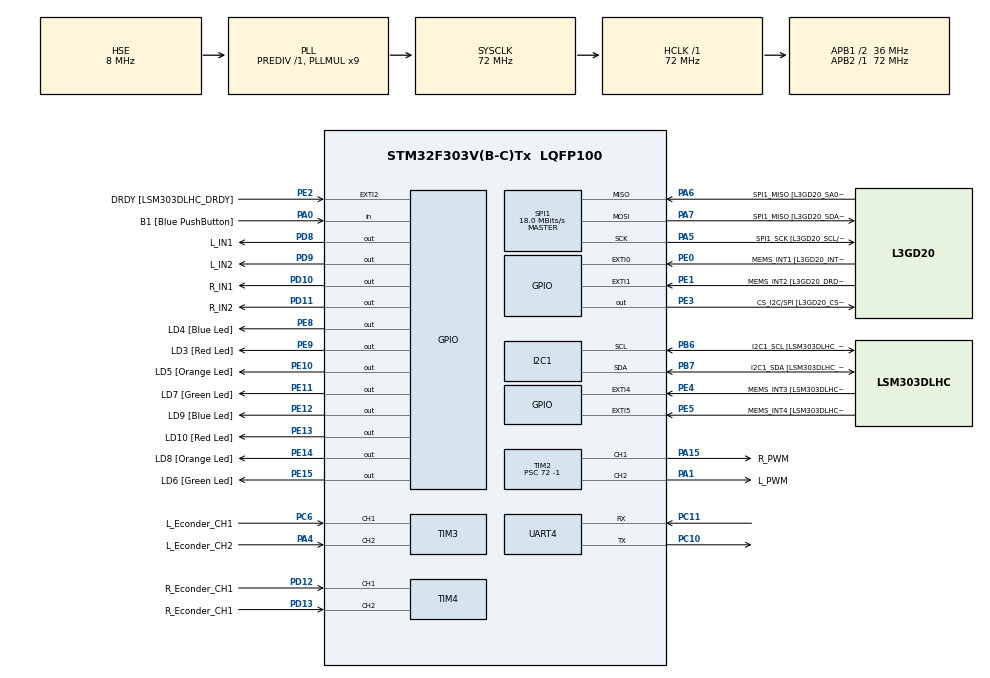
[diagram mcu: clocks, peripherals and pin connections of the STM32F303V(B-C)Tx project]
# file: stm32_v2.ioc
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FREERTOS.Tasks01=monitortingTask,8,1024,vmonitoring,Default,NULL,Dynamic,NULL,NULL;navigationTask,8,512,vnavigation,Default,NULL,Dynamic,NULL,NULL
FREERTOS.configTOTAL_HEAP_SIZE=10000
FREERTOS.configUSE_NEWLIB_REENTRANT=1
I2C1.Timing=0x00201D2B
I2C1.Timing-I2C=0x2000090E
Mcu.Family=STM32F3
Mcu.Name=STM32F303V(B-C)Tx
Mcu.Package=LQFP100
NVIC.PriorityGroup=NVIC_PRIORITYGROUP_4
NVIC.TIM1_UP_TIM16_IRQn=true\:15\:0\:false\:false\:true\:false\:false\:true\:true
NVIC.TimeBase=TIM1_UP_TIM16_IRQn
NVIC.TimeBaseIP=TIM1
NVIC.UART4_IRQn=true\:5\:0\:false\:true\:true\:1\:true\:true\:true\:true
PA0.GPIO_Label=B1 [Blue PushButton]
PA0.Signal=GPIO_Input
PA1.GPIO_Label=L_PWM
PA1.Signal=S_TIM2_CH2
PA11.GPIO_Label=DM
PA11.Signal=USB_DM
PA12.GPIO_Label=DP
PA12.Signal=USB_DP
PA13.GPIO_Label=SWDIO
PA13.Mode=Serial_Wire
PA13.Signal=SYS_JTMS-SWDIO
PA14.GPIO_Label=SWCLK
PA14.Mode=Serial_Wire
PA14.Signal=SYS_JTCK-SWCLK
PA15.GPIO_Label=R_PWM
PA15.Signal=S_TIM2_CH1_ETR
PA4.GPIO_Label=L_Econder_CH2
PA4.Signal=S_TIM3_CH2
PA5.GPIO_Label=SPI1_SCK [L3GD20_SCL/SPC]
PA5.Mode=Full_Duplex_Master
PA5.Signal=SPI1_SCK
PA6.GPIO_Label=SPI1_MISO [L3GD20_SA0/SDO]
PA6.Mode=Full_Duplex_Master
PA6.Signal=SPI1_MISO
PA7.GPIO_Label=SPI1_MISO [L3GD20_SDA/SDI/SDO]
PA7.Mode=Full_Duplex_Master
PA7.Signal=SPI1_MOSI
PB3.GPIO_Label=SWO
PB3.Signal=SYS_JTDO-TRACESWO
PB6.GPIO_Label=I2C1_SCL [LSM303DLHC_SCL]
PB6.GPIO_Pu=GPIO_PULLUP
PB6.Mode=I2C
PB6.Signal=I2C1_SCL
PB7.GPIO_Label=I2C1_SDA [LSM303DLHC_SDA]
PB7.GPIO_Pu=GPIO_PULLUP
PB7.Mode=I2C
PB7.Signal=I2C1_SDA
PC10.Mode=Asynchronous
PC10.Signal=UART4_TX
PC11.Mode=Asynchronous
PC11.Signal=UART4_RX
PC14-OSC32_IN.GPIO_Label=OSC32_IN
PC14-OSC32_IN.Signal=RCC_OSC32_IN
PC15-OSC32_OUT.GPIO_Label=OSC32_OUT
PC15-OSC32_OUT.Signal=RCC_OSC32_OUT
PC6.GPIO_Label=L_Econder_CH1
PC6.Signal=S_TIM3_CH1
PD10.GPIO_Label=R_IN1
PD10.Signal=GPIO_Output
PD11.GPIO_Label=R_IN2
PD11.Signal=GPIO_Output
PD12.GPIO_Label=R_Econder_CH1
PD12.Signal=S_TIM4_CH1
PD13.GPIO_Label=R_Econder_CH1
PD13.Signal=S_TIM4_CH2
PD8.GPIO_Label=L_IN1
PD8.Signal=GPIO_Output
PD9.GPIO_Label=L_IN2
PD9.Signal=GPIO_Output
PE0.GPIO_Label=MEMS_INT1 [L3GD20_INT1]
PE0.GPIO_ModeDefaultEXTI=GPIO_MODE_EVT_RISING
PE0.Signal=GPXTI0
PE1.GPIO_Label=MEMS_INT2 [L3GD20_DRDY/INT2]
PE1.GPIO_ModeDefaultEXTI=GPIO_MODE_EVT_RISING
PE1.Signal=GPXTI1
PE10.GPIO_Label=LD5 [Orange Led]
PE10.Signal=GPIO_Output
PE11.GPIO_Label=LD7 [Green Led]
PE11.Signal=GPIO_Output
PE12.GPIO_Label=LD9 [Blue Led]
PE12.Signal=GPIO_Output
PE13.GPIO_Label=LD10 [Red Led]
PE13.Signal=GPIO_Output
PE14.GPIO_Label=LD8 [Orange Led]
PE14.Signal=GPIO_Output
PE15.GPIO_Label=LD6 [Green Led]
PE15.Signal=GPIO_Output
PE2.GPIO_Label=DRDY [LSM303DLHC_DRDY]
PE2.GPIO_ModeDefaultEXTI=GPIO_MODE_EVT_RISING
PE2.Signal=GPXTI2
PE3.GPIO_Label=CS_I2C/SPI [L3GD20_CS_I2C/SPI]
PE3.Signal=GPIO_Output
PE4.GPIO_Label=MEMS_INT3 [LSM303DLHC_INT1]
PE4.GPIO_ModeDefaultEXTI=GPIO_MODE_EVT_RISING
PE4.Signal=GPXTI4
PE5.GPIO_Label=MEMS_INT4 [LSM303DLHC_INT2]
PE5.GPIO_ModeDefaultEXTI=GPIO_MODE_EVT_RISING
PE5.Signal=GPXTI5
PE8.GPIO_Label=LD4 [Blue Led]
PE8.Signal=GPIO_Output
PE9.GPIO_Label=LD3 [Red Led]
PE9.Signal=GPIO_Output
PF0-OSC_IN.GPIO_Label=OSC_IN
PF0-OSC_IN.Mode=HSE-External-Clock-Source
PF0-OSC_IN.Signal=RCC_OSC_IN
PF1-OSC_OUT.GPIO_Label=OSC_OUT
PF1-OSC_OUT.Signal=RCC_OSC_OUT
ProjectManager.HeapSize=0x200
ProjectManager.StackSize=0x400
ProjectManager.TargetToolchain=STM32CubeIDE
RCC.AHBFreq_Value=72000000
RCC.APB1CLKDivider=RCC_HCLK_DIV2
RCC.APB1Freq_Value=36000000
RCC.APB1TimFreq_Value=72000000
RCC.APB2Freq_Value=72000000
RCC.APB2TimFreq_Value=72000000
RCC.CortexFreq_Value=72000000
RCC.HCLKFreq_Value=72000000
RCC.HSE_VALUE=8000000
RCC.HSI_VALUE=8000000
RCC.LSE_VALUE=32768
RCC.PLLMUL=RCC_PLL_MUL9
RCC.PLLSourceVirtual=RCC_PLLSOURCE_HSE
RCC.PRESCALERUSB=RCC_USBCLKSOURCE_PLL_DIV1_5
RCC.SYSCLKFreq_VALUE=72000000
RCC.SYSCLKSourceVirtual=RCC_SYSCLKSOURCE_PLLCLK
RCC.USBFreq_Value=48000000
SH.S_TIM2_CH1_ETR.0=TIM2_CH1,PWM Generation1 CH1
SH.S_TIM2_CH2.0=TIM2_CH2,PWM Generation2 CH2
SH.S_TIM3_CH1.0=TIM3_CH1,Encoder_Interface
SH.S_TIM3_CH2.0=TIM3_CH2,Encoder_Interface
SH.S_TIM4_CH1.0=TIM4_CH1,Encoder_Interface
SH.S_TIM4_CH2.0=TIM4_CH2,Encoder_Interface
SPI1.BaudRatePrescaler=SPI_BAUDRATEPRESCALER_4
SPI1.BaudRatePrescaler-Full_Duplex_Master=SPI_BAUDRATEPRESCALER_2
SPI1.CalculateBaudRate=18.0 MBits/s
SPI1.CalculateBaudRate-Full_Duplex_Master=24.0 MBits/s
SPI1.Direction=SPI_DIRECTION_2LINES
SPI1.Mode=SPI_MODE_MASTER
SPI1.Mode-Full_Duplex_Master=SPI_MODE_MASTER
SPI1.VirtualType=VM_MASTER
TIM2.Channel-PWM\ Generation1\ CH1=TIM_CHANNEL_1
TIM2.Channel-PWM\ Generation2\ CH2=TIM_CHANNEL_2
TIM2.Period=1000
TIM2.Prescaler=72 -1
VP_FREERTOS_VS_CMSIS_V2.Mode=CMSIS_V2
VP_SYS_VS_tim1.Mode=TIM1
VP_TIM2_VS_ClockSourceINT.Mode=Internal
board=STM32F3DISCOVERY

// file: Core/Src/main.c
/* USER CODE BEGIN Header */
/**
 ******************************************************************************
 * @file           : main.c
 * @brief          : Main program body
 ******************************************************************************
 * @attention
 *
 * Copyright (c) 2025 STMicroelectronics.
 * All rights reserved.
 *
 * This software is licensed under terms that can be found in the LICENSE file
 * in the root directory of this software component.
 * If no LICENSE file comes with this software, it is provided AS-IS.
 *
 ******************************************************************************
 */
/* USER CODE END Header */
#include "main.h"
#include "cmsis_os.h"
#include "i2c.h"
#include "spi.h"
#include "tim.h"
#include "usart.h"
#include "gpio.h"

/* USER CODE BEGIN Includes */
#include <stdio.h>
#include "freertos.h"
#include "queue.h"

/* USER CODE END Includes */

/* USER CODE BEGIN PTD */
uint8_t rx_data;                   // 1바이트 수신용
char rx_cmd_buffer[CMD_BUFFER_SIZE];  // 전체 문자열 버퍼
uint8_t rx_index = 0;             // 버퍼 인덱스

/* USER CODE END PTD */

void SystemClock_Config(void);
void MX_FREERTOS_Init(void);
static void MX_NVIC_Init(void);
/* USER CODE BEGIN PFP */
void setMotorMode(DriveMode mode);
void setMotorSpeed(char motor_position, int speed);
void motorStart();
void motorShutdown();
void startEncoder(TIM_HandleTypeDef *htim);
int32_t readEncoder(TIM_HandleTypeDef *htim);

/* USER CODE END PFP */

/* USER CODE BEGIN 0 */
int current_left_pwm;
int current_right_pwm;
int16_t left_encoder_prev_count = 0;
int32_t left_encoder_total_count = 0;
int16_t right_encoder_prev_count = 0;
int32_t right_encoder_total_count = 0;
extern QueueHandle_t MotorSpeedQueue;
/* USER CODE END 0 */

int main(void)
{

  /* MCU Configuration--------------------------------------------------------*/

  /* Reset of all peripherals, Initializes the Flash interface and the Systick. */
  HAL_Init();

  /* Configure the system clock */
  SystemClock_Config();

  /* Initialize all configured peripherals */
  MX_GPIO_Init();
  MX_I2C1_Init();
  MX_SPI1_Init();
  MX_TIM2_Init();
  MX_TIM3_Init();
  MX_TIM4_Init();
  MX_UART4_Init();

  /* Initialize interrupts */
  MX_NVIC_Init();
  /* USER CODE BEGIN 2 */
  HAL_UART_Receive_IT(&huart4, &rx_data, 1);
	BSP_GYRO_Init();

	// 가속도 초기화
	BSP_ACCELERO_Init();
	motorStart();
	setMotorMode(FORWARD);
	motorShutdown();
	startEncoder(&htim3);
	startEncoder(&htim4);
	__HAL_TIM_SET_COUNTER(&htim3, 0);
	__HAL_TIM_SET_COUNTER(&htim4, 0);

	left_encoder_prev_count = __HAL_TIM_GET_COUNTER(&htim3);
	left_encoder_total_count = __HAL_TIM_GET_COUNTER(&htim3);

	right_encoder_prev_count = __HAL_TIM_GET_COUNTER(&htim4);
	right_encoder_total_count = __HAL_TIM_GET_COUNTER(&htim3);

  /* USER CODE END 2 */

  /* Init scheduler */
  osKernelInitialize();  /* Call init function for freertos objects (in cmsis_os2.c) */

  MX_FREERTOS_Init();

  /* Start scheduler */
  osKernelStart();

  /* We should never get here as control is now taken by the scheduler */

  /* Infinite loop */
	while (1) {

	}
}

void SystemClock_Config(void)
{
  RCC_OscInitTypeDef RCC_OscInitStruct = {0};
  RCC_ClkInitTypeDef RCC_ClkInitStruct = {0};
  RCC_PeriphCLKInitTypeDef PeriphClkInit = {0};

  /** Initializes the RCC Oscillators according to the specified parameters
  * in the RCC_OscInitTypeDef structure.
  */
  RCC_OscInitStruct.OscillatorType = RCC_OSCILLATORTYPE_HSI|RCC_OSCILLATORTYPE_HSE;
  RCC_OscInitStruct.HSEState = RCC_HSE_BYPASS;
  RCC_OscInitStruct.HSEPredivValue = RCC_HSE_PREDIV_DIV1;
  RCC_OscInitStruct.HSIState = RCC_HSI_ON;
  RCC_OscInitStruct.HSICalibrationValue = RCC_HSICALIBRATION_DEFAULT;
  RCC_OscInitStruct.PLL.PLLState = RCC_PLL_ON;
  RCC_OscInitStruct.PLL.PLLSource = RCC_PLLSOURCE_HSE;
  RCC_OscInitStruct.PLL.PLLMUL = RCC_PLL_MUL9;
  if (HAL_RCC_OscConfig(&RCC_OscInitStruct) != HAL_OK)
  {
    Error_Handler();
  }

  /** Initializes the CPU, AHB and APB buses clocks
  */
  RCC_ClkInitStruct.ClockType = RCC_CLOCKTYPE_HCLK|RCC_CLOCKTYPE_SYSCLK
                              |RCC_CLOCKTYPE_PCLK1|RCC_CLOCKTYPE_PCLK2;
  RCC_ClkInitStruct.SYSCLKSource = RCC_SYSCLKSOURCE_PLLCLK;
  RCC_ClkInitStruct.AHBCLKDivider = RCC_SYSCLK_DIV1;
  RCC_ClkInitStruct.APB1CLKDivider = RCC_HCLK_DIV2;
  RCC_ClkInitStruct.APB2CLKDivider = RCC_HCLK_DIV1;

  if (HAL_RCC_ClockConfig(&RCC_ClkInitStruct, FLASH_LATENCY_2) != HAL_OK)
  {
    Error_Handler();
  }
  PeriphClkInit.PeriphClockSelection = RCC_PERIPHCLK_UART4|RCC_PERIPHCLK_I2C1;
  PeriphClkInit.Uart4ClockSelection = RCC_UART4CLKSOURCE_PCLK1;
  PeriphClkInit.I2c1ClockSelection = RCC_I2C1CLKSOURCE_HSI;
  if (HAL_RCCEx_PeriphCLKConfig(&PeriphClkInit) != HAL_OK)
  {
    Error_Handler();
  }
}

/**
  * @brief NVIC Configuration.
  * @retval None
  */
static void MX_NVIC_Init(void)
{
  /* UART4_IRQn interrupt configuration */
  HAL_NVIC_SetPriority(UART4_IRQn, 5, 0);
  HAL_NVIC_EnableIRQ(UART4_IRQn);
}

/* USER CODE BEGIN 4 */
void setMotorMode(DriveMode mode) {
	switch (mode) {
	case 0:
		HAL_GPIO_WritePin(GPIOD, L_IN1_Pin, GPIO_PIN_SET);
		HAL_GPIO_WritePin(GPIOD, L_IN2_Pin, GPIO_PIN_RESET);
		HAL_GPIO_WritePin(GPIOD, R_IN1_Pin, GPIO_PIN_SET);
		HAL_GPIO_WritePin(GPIOD, R_IN2_Pin, GPIO_PIN_RESET);
		break;
	case 1:
		HAL_GPIO_WritePin(GPIOD, L_IN1_Pin, GPIO_PIN_RESET);
		HAL_GPIO_WritePin(GPIOD, L_IN2_Pin, GPIO_PIN_SET);
		HAL_GPIO_WritePin(GPIOD, R_IN1_Pin, GPIO_PIN_RESET);
		HAL_GPIO_WritePin(GPIOD, R_IN2_Pin, GPIO_PIN_SET);
		break;
		// 으론쪽으로 회전 => Left Motor 전진 , Right Motor 후진
	case 2:
		HAL_GPIO_WritePin(GPIOD, L_IN1_Pin, GPIO_PIN_SET);
		HAL_GPIO_WritePin(GPIOD, L_IN2_Pin, GPIO_PIN_RESET);
		HAL_GPIO_WritePin(GPIOD, R_IN1_Pin, GPIO_PIN_RESET);
		HAL_GPIO_WritePin(GPIOD, R_IN2_Pin, GPIO_PIN_SET);
		break;
		// 왼쪽으로 회전 => Left Motor 후진 , Right Motor 전진
	case 3:
		HAL_GPIO_WritePin(GPIOD, L_IN1_Pin, GPIO_PIN_RESET);
		HAL_GPIO_WritePin(GPIOD, L_IN2_Pin, GPIO_PIN_SET);
		HAL_GPIO_WritePin(GPIOD, R_IN1_Pin, GPIO_PIN_SET);
		HAL_GPIO_WritePin(GPIOD, R_IN2_Pin, GPIO_PIN_RESET);
		break;
	case 4:
		HAL_GPIO_WritePin(GPIOD, L_IN1_Pin, GPIO_PIN_RESET);
		HAL_GPIO_WritePin(GPIOD, L_IN2_Pin, GPIO_PIN_RESET);
		HAL_GPIO_WritePin(GPIOD, R_IN1_Pin, GPIO_PIN_RESET);
		HAL_GPIO_WritePin(GPIOD, R_IN2_Pin, GPIO_PIN_RESET);
		break;
	}
}

void setMotorSpeed(char motor_position, int speed) {
	int pwm = abs(speed) * 10;
	if (motor_position == 'L') {
//		current_left_pwm = speed;
		__HAL_TIM_SET_COMPARE(&htim2, TIM_CHANNEL_2, pwm);
	} else if (motor_position == 'R') {
//		current_right_pwm = speed;
		__HAL_TIM_SET_COMPARE(&htim2, TIM_CHANNEL_1, pwm);
	}
}

void motorStart() {
	HAL_TIM_PWM_Start(&htim2, TIM_CHANNEL_1);
	HAL_TIM_PWM_Start(&htim2, TIM_CHANNEL_2);
}

void motorShutdown() {
	__HAL_TIM_SET_COMPARE(&htim2, TIM_CHANNEL_1, 0);
	__HAL_TIM_SET_COMPARE(&htim2, TIM_CHANNEL_2, 0);
}

void startEncoder(TIM_HandleTypeDef *htim) {
	HAL_TIM_Encoder_Start(htim, TIM_CHANNEL_ALL);
}

int32_t readEncoder(TIM_HandleTypeDef *htim) {
	int16_t current_count = __HAL_TIM_GET_COUNTER(htim);
	int16_t diff = 0;

	if (htim->Instance == TIM4) {  // Right encoder
		diff = current_count -right_encoder_prev_count;

		// 오버플로우 / 언더플로우 보정
		if (diff > 30000)
			diff -= 65536;
		else if (diff < -30000)
			diff += 65536;

		right_encoder_total_count += diff;
		right_encoder_prev_count = current_count;
		return right_encoder_total_count;
	} else if (htim->Instance == TIM3) {  // Left encoder
		diff = current_count - left_encoder_prev_count;

		// 오버플로우 / 언더플로우 보정
		if (diff > 30000)
			diff -= 65536;
		else if (diff < -30000)
			diff += 65536;

		left_encoder_total_count += diff;
		left_encoder_prev_count = current_count;
		return left_encoder_total_count;
	} else {
		return 0;  // 지원하지 않는 타이머
	}
}

void HAL_UART_RxCpltCallback(UART_HandleTypeDef *huart) {
	if (huart->Instance == UART4) {
		BaseType_t xHigherPriorityTaskWoken = pdFALSE;

		// 큐에 수신 바이트 삽입
		// 전달 받은 데이터에 따라 넣는 큐가 다름
		if (rx_data == '\n') {
			rx_cmd_buffer[rx_index] = '\0';  // 문자열 종료
			CommandMessage msg;
			strlcpy(msg.cmd, rx_cmd_buffer, CMD_BUFFER_SIZE);

			// 명령 종류 판별 및 큐 전송
			if (strncmp(msg.cmd, "L", 1) == 0) {
				xQueueSendFromISR(MotorSpeedQueue, &msg,
						&xHigherPriorityTaskWoken);
//			} else if (strncmp(msg.cmd, "S", 1) == 0) {
//				xQueueSendFromISR(ServoQueue, &msg, &xHigherPriorityTaskWoken);
//			} else if (strncmp(msg.cmd, "U", 1) == 0
//					|| strncmp(msg.cmd, "D", 1) == 0) {
//				xQueueSendFromISR(StepperQueue, &msg,
//						&xHigherPriorityTaskWoken);
			}
			rx_index = 0;  // 버퍼 초기화
		} else {
			if (rx_index < CMD_BUFFER_SIZE - 1) {
				rx_cmd_buffer[rx_index++] = rx_data;
			} else {
				rx_index = 0;  // overflow 방지
			}
		}

		// 다시 수신 시작
		HAL_UART_Receive_IT(&huart4, &rx_data, 1);

		// 필요 시 context switch
		portYIELD_FROM_ISR(xHigherPriorityTaskWoken);
	}
}

/* USER CODE END 4 */

void HAL_TIM_PeriodElapsedCallback(TIM_HandleTypeDef *htim)
{
  if (htim->Instance == TIM1)
  {
    HAL_IncTick();
  }
}

void Error_Handler(void)
{
	__disable_irq();
	while (1) {
	}
}

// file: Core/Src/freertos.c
/* USER CODE BEGIN Header */
/**
 ******************************************************************************
 * File Name          : freertos.c
 * Description        : Code for freertos applications
 ******************************************************************************
 * @attention
 *
 * Copyright (c) 2025 STMicroelectronics.
 * All rights reserved.
 *
 * This software is licensed under terms that can be found in the LICENSE file
 * in the root directory of this software component.
 * If no LICENSE file comes with this software, it is provided AS-IS.
 *
 ******************************************************************************
 */
/* USER CODE END Header */

#include "FreeRTOS.h"
#include "task.h"
#include "main.h"
#include "cmsis_os.h"

/* USER CODE BEGIN Includes */
#include "queue.h"
#include "event_groups.h"
#include "string.h"
#include "stdlib.h"
#include "stdio.h"
#include "tim.h"
#include "usart.h"
#include "math.h"
/* USER CODE END Includes */

/* USER CODE BEGIN PM */
osSemaphoreId_t imuMutexHandle;
const osSemaphoreAttr_t imuMutex_attributes = { .name = "imuMutex" };
typedef struct {
	int16_t ax, ay, az;
	int16_t gx, gy, gz;
	int16_t mx, my, mz;
	float temperature;
	float pitch, roll, yaw; // 추가
} ImuRawData;

ImuRawData sharedImuData;
QueueHandle_t MotorSpeedQueue;
/* USER CODE END PM */

/* Definitions for monitortingTask */
osThreadId_t monitortingTaskHandle;
const osThreadAttr_t monitortingTask_attributes = {
  .name = "monitortingTask",
  .stack_size = 1024 * 4,
  .priority = (osPriority_t) osPriorityLow,
};
/* Definitions for navigationTask */
osThreadId_t navigationTaskHandle;
const osThreadAttr_t navigationTask_attributes = {
  .name = "navigationTask",
  .stack_size = 512 * 4,
  .priority = (osPriority_t) osPriorityLow,
};

/* USER CODE BEGIN FunctionPrototypes */
void parseCommand(char *cmd);
void vmonitoring(void *argument);
void vnavigation(void *argument);
/* USER CODE END FunctionPrototypes */

void vmonitoring(void *argument);
void vnavigation(void *argument);

void MX_FREERTOS_Init(void); /* (MISRA C 2004 rule 8.1) */

void MX_FREERTOS_Init(void) {

  /* USER CODE BEGIN RTOS_SEMAPHORES */
	/* add semaphores, ... */
	imuMutexHandle = osSemaphoreNew(1, 1, &imuMutex_attributes);
  /* USER CODE END RTOS_SEMAPHORES */

  /* USER CODE BEGIN RTOS_QUEUES */
	/* add queues, ... */
	MotorSpeedQueue = xQueueCreate(64, sizeof(CommandMessage));

  /* USER CODE END RTOS_QUEUES */

  /* Create the thread(s) */
  /* creation of monitortingTask */
  monitortingTaskHandle = osThreadNew(vmonitoring, NULL, &monitortingTask_attributes);

  /* creation of navigationTask */
  navigationTaskHandle = osThreadNew(vnavigation, NULL, &navigationTask_attributes);

}

void vmonitoring(void *argument)
{
  /* USER CODE BEGIN vmonitoring */
	char tx_buffer[256];
	for (;;) {
		int32_t left_encoder = readEncoder(&htim3);
		int32_t right_encoder = readEncoder(&htim4);

		updateImuData();  // BSP 기반 값으로 업데이트

		extern int current_left_pwm;
		extern int current_right_pwm;

		int trash_state = 0;
		int emergency_state = 0;

		snprintf(tx_buffer, sizeof(tx_buffer),
				"SPEED:L%d,R%d;TRASH:%d;EMERGENCY:%d;ENCODER:L%d,R%d;ACC:%d,%d,%d,GYRO:%d,%d,%d\n",
				current_left_pwm, current_right_pwm, trash_state,
				emergency_state, left_encoder, right_encoder, sharedImuData.ax,
				sharedImuData.ay, sharedImuData.az, sharedImuData.gx,
				sharedImuData.gy, sharedImuData.gz);

		HAL_UART_Transmit(&huart4, (uint8_t*) tx_buffer, strlen(tx_buffer),
		HAL_MAX_DELAY);

		osDelay(500);  // 500ms마다 송신
	}
  /* USER CODE END vmonitoring */
}

void vnavigation(void *argument)
{
  /* USER CODE BEGIN vnavigation */
	/* Infinite loop */
	CommandMessage msg;
	for (;;) {
		if (xQueueReceive(MotorSpeedQueue, &msg, 1) == pdTRUE) {
			parseCommand(msg.cmd);  // 예: "L100R120"
		}

		osDelay(100);
	}
  /* USER CODE END vnavigation */
}

/* USER CODE BEGIN Application */
void parseCommand(char *cmd) {
	int left_pwm = 0, right_pwm = 0;

	char *l_ptr = strchr(cmd, 'L');
	char *r_ptr = strchr(cmd, 'R');

	if (l_ptr && r_ptr) {
		left_pwm = atoi(l_ptr + 1);   // 'L' 다음부터 정수로 변환
		right_pwm = atoi(r_ptr + 1);  // 'R' 다음부터 정수로 변환

		// PWM 제한 범위 적용
		if (left_pwm > 255)
			left_pwm = 255;
		if (left_pwm < -255)
			left_pwm = -255;
		if (right_pwm > 255)
			right_pwm = 255;
		if (right_pwm < -255)
			right_pwm = -255;

		if (left_pwm > 0 && right_pwm > 0) {
			setMotorMode(FORWARD);

		} else if (left_pwm < 0 && right_pwm < 0) {
			setMotorMode(BACKWARD);

		} else if (left_pwm > 0 && right_pwm < 0) {
			setMotorMode(ROTATE_RIGHT);

		} else if (left_pwm < 0 && right_pwm > 0) {
			setMotorMode(ROTATE_LEFT);

		} else {
			setMotorMode(STOP);
		}

		setMotorSpeed('L', left_pwm);
		setMotorSpeed('R', right_pwm);
	} else {
		osDelay(1);
	}
}

void updateImuData() {
    int16_t acc[3];
    float   gyro_f[3];

    /* 1) 센서 읽기 -------------------------------------------------------- */
    BSP_ACCELERO_GetXYZ(acc);        // ±2 g, raw LSB
    BSP_GYRO_GetXYZ  (gyro_f);       // °/s,   float

    /* 2) 공유 구조체 보호 -------------------------------------------------- */
    osSemaphoreAcquire(imuMutexHandle, osWaitForever);

    sharedImuData.ax = acc[0];
    sharedImuData.ay = acc[1];
    sharedImuData.az = acc[2];

    sharedImuData.gx = (int16_t)gyro_f[0];
    sharedImuData.gy = (int16_t)gyro_f[1];
    sharedImuData.gz = (int16_t)gyro_f[2];

    osSemaphoreRelease(imuMutexHandle);
}
/* USER CODE END Application */
